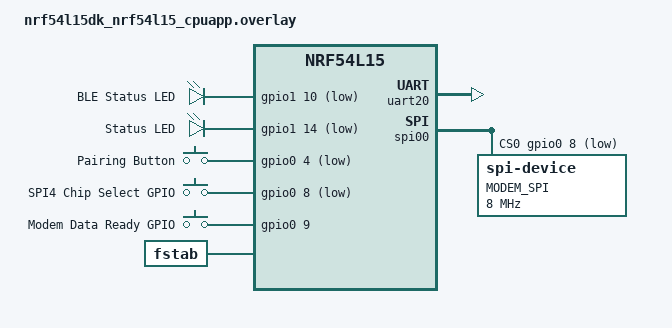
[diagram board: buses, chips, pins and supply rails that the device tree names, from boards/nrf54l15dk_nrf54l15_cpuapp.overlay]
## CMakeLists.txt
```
# Copyright (c) 2024 Dog Tracker Project
# SPDX-License-Identifier: Apache-2.0

cmake_minimum_required(VERSION 3.20.0)

# 设置板子配置
set(BOARD nrf54l15dk/nrf54l15/cpuapp)

set(DTC_OVERLAY_FILE ./boards/nrf54l15dk_nrf54l15_cpuapp.overlay)

find_package(Zephyr REQUIRED HINTS $ENV{ZEPHYR_BASE})

project(dog_tracker)

# 添加源文件
target_sources(app PRIVATE
    src/main.c
    src/ble/src/ble.c
    src/ble/src/tracker_service.c
)

# 添加头文件目录
zephyr_library_include_directories(src/include)
zephyr_library_include_directories(src/ble/include)
zephyr_library_include_directories(src/comm_mgr/include)
zephyr_library_include_directories(src/ml/include)
zephyr_library_include_directories(src/storage/include)
zephyr_library_include_directories(src/wifi/include)
zephyr_library_include_directories(src/zbus/include)

# 可选：如果要使用c_modules，取消注释下面的行
 add_subdirectory(c_modules/utils)
 add_subdirectory(c_modules/fqueue)
 add_subdirectory(c_modules/json)        # 添加JSON模块
 add_subdirectory(c_modules/imu)         # 添加IMU模块  
 add_subdirectory(c_modules/modem)       # 添加调制解调器模块
 add_subdirectory(c_modules/pmic)       # 添加PMIC模块
 add_subdirectory(c_modules/uicr)       # 添加UICR模块
 add_subdirectory(c_modules/tde)        # 添加TDE模块
 add_subdirectory(c_modules/watchdog)   # 添加看门狗模块
# 添加src子模块
add_subdirectory(src/comm_mgr)          # 添加通信管理器模块
add_subdirectory(src/ml)                # 添加机器学习模块
add_subdirectory(src/storage)           # 添加存储模块
add_subdirectory(src/wifi)              # 添加WiFi模块
add_subdirectory(src/zbus)              # 添加ZBus模块

# 添加应用版本信息
target_compile_definitions(app PRIVATE
    APP_VERSION_MAJOR=1
    APP_VERSION_MINOR=0
    APP_VERSION_PATCH=0
)
```

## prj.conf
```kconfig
# Copyright (c) 2024 Dog Tracker Project
# SPDX-License-Identifier: Apache-2.0

# 基础配置
CONFIG_LOG=y
CONFIG_LOG_DEFAULT_LEVEL=3

# 日志配置 - 使用默认级别

# 蓝牙配置
CONFIG_BT=y
CONFIG_BT_CENTRAL=n
CONFIG_BT_PERIPHERAL=y

# GATT相关
CONFIG_BT_GATT_SERVICE_CHANGED=y
CONFIG_BT_GATT_CACHING=y
CONFIG_BT_GATT_ENFORCE_SUBSCRIPTION=n

# 安全性配置
CONFIG_BT_SMP=y
CONFIG_BT_SIGNING=y
CONFIG_BT_BONDABLE=y
CONFIG_BT_BONDING_REQUIRED=n

# L2CAP配置
CONFIG_BT_L2CAP_TX_BUF_COUNT=8

# 设备名称和ID
CONFIG_BT_DEVICE_NAME="Dog_Tracker"
CONFIG_BT_DEVICE_APPEARANCE=0

# 蓝牙控制器配置
CONFIG_BT_CTLR=y
CONFIG_BT_CTLR_ADV_EXT=y
CONFIG_BT_CTLR_TX_PWR_PLUS_8=y

# 广播配置
CONFIG_BT_EXT_ADV=y

# 内存配置
CONFIG_HEAP_MEM_POOL_SIZE=16384
CONFIG_MAIN_STACK_SIZE=2048
CONFIG_SYSTEM_WORKQUEUE_STACK_SIZE=2048

# 设置存储
CONFIG_SETTINGS=y
CONFIG_SETTINGS_RUNTIME=y  # 启用运行时Settings API
CONFIG_SETTINGS_NVS=y
CONFIG_NVS=y
CONFIG_FLASH=y
CONFIG_FLASH_MAP=y

# CBOR支持（用于数据编解码）
CONFIG_ZCBOR=y
CONFIG_ZCBOR_CANONICAL=y

# 随机数生成
CONFIG_ENTROPY_GENERATOR=y

# GPIO和定时器支持
CONFIG_GPIO=y
CONFIG_COUNTER=y

# Shell支持（调试用）
CONFIG_SHELL=y
CONFIG_SHELL_BACKEND_SERIAL=y

# UART配置
CONFIG_SERIAL=y
CONFIG_UART_INTERRUPT_DRIVEN=y
CONFIG_CONSOLE=y

# 看门狗
CONFIG_WATCHDOG=y

# ===== 新增配置以解决编译错误 =====

# JSON支持 (解决 cJSON_os.h 错误)
CONFIG_CJSON_LIB=y
# 需要启用浮点printf支持
CONFIG_NEWLIB_LIBC=y
CONFIG_NEWLIB_LIBC_FLOAT_PRINTF=y

# 文件系统支持 (解决 lfs.h 错误)
CONFIG_FILE_SYSTEM=y
CONFIG_FILE_SYSTEM_LITTLEFS=y

# 传感器支持 (解决 imu.h 相关问题)
CONFIG_SENSOR=y
CONFIG_I2C=y
CONFIG_SPI=y

# ZBUS消息总线支持 (项目使用的消息系统)
CONFIG_ZBUS=y
CONFIG_ZBUS_CHANNEL_NAME=y
CONFIG_ZBUS_OBSERVER_NAME=y
CONFIG_ZBUS_MSG_SUBSCRIBER=y

# 网络缓冲支持 (ZBUS和通信需要)
CONFIG_NET_BUF=y

# 线程名称支持 (便于调试)
CONFIG_THREAD_NAME=y

# ML相关支持
CONFIG_CPP=y
CONFIG_STD_CPP17=y

# 调制解调器支持
CONFIG_MODEM_MODULES=y

# WiFi支持
CONFIG_WIFI=y
CONFIG_NET_L2_WIFI_MGMT=y

# ===== 添加项目特定配置参数 =====

# 日志级别配置
#CONFIG_SPI_MODEM_LOG_LEVEL=3
#CONFIG_D1_JSON_LOG_LEVEL=3
#CONFIG_COMM_MGR_LOG_LEVEL=3
#CONFIG_ML_LOG_LEVEL=3
#CONFIG_IMU_LOG_LEVEL=3

# MQTT和IoT配置
#CONFIG_IOT_MQTT_REGION_ID="US"
#CONFIG_IOT_MQTT_BRAND_ID=123
#CONFIG_MAX_MQTT_MSG_SIZE=4096

# 调制解调器配置  
#CONFIG_NRF9160_ENABLE_ON_BOOT=n

# SPI配置（针对nRF54L15芯片）
CONFIG_SPI=y
CONFIG_SPI_NRFX=y

# 应用版本配置
#CONFIG_APP_VERSION_MAJOR_CMAKE=1
#CONFIG_APP_VERSION_MINOR_CMAKE=0  
#CONFIG_APP_VERSION_PATCH_CMAKE=0

# 机器学习配置
#CONFIG_ML_ENABLE=y

# 构建配置
#CONFIG_BUILDING_MFG_SHELL=n
CONFIG_NETWORKING=y
```

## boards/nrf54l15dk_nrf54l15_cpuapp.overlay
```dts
/*
 * Copyright (c) 2024 Dog Tracker Project
 * SPDX-License-Identifier: Apache-2.0
 */

/ {
    /* 为BLE广播配置LED指示器 */
    leds {
        compatible = "gpio-leds";
        
        ble_led: led_ble {
            gpios = <&gpio1 10 GPIO_ACTIVE_LOW>;
            label = "BLE Status LED";
        };
        
        status_led: led_status {
            gpios = <&gpio1 14 GPIO_ACTIVE_LOW>;
            label = "Status LED";
        };
    };

    /* 按钮配置 */
    buttons {
        compatible = "gpio-keys";
        
        pairing_button: button_pairing {
            gpios = <&gpio0 4 (GPIO_PULL_UP | GPIO_ACTIVE_LOW)>;
            label = "Pairing Button";
        };
    };

    /* GPIO 别名配置 - 用于应用程序引用 */
    gpio_mapping {
        compatible = "gpio-keys"; /* 使用gpio-keys提供结构 */
        
        /* SPI片选信号 */
        spi4cs_gpio: spi4_cs_gpio {
            gpios = <&gpio0 8 GPIO_ACTIVE_LOW>;
            label = "SPI4 Chip Select GPIO";
        };
        
        /* 调制解调器数据就绪信号 */
        modem_data_ready_gpio: modem_data_ready_gpio {
            gpios = <&gpio0 9 (GPIO_PULL_DOWN | GPIO_ACTIVE_HIGH)>;
            label = "Modem Data Ready GPIO";
        };
    };

    /* 电源管理相关别名 */
    aliases {
        ble-led = &ble_led;
        status-led = &status_led;
        pairing-button = &pairing_button;
        /* 添加GPIO相关别名 */
        spi4cs = &spi4cs_gpio;
        modemdataready = &modem_data_ready_gpio;
    };

    chosen {
        zephyr,console = &uart20;
        zephyr,shell-uart = &uart20;
    };
};

/* 配置UART20用于调试 */
&uart20 {
    status = "okay";
};

/* 启用并配置SPI接口 - 根据nRF54L15的标准配置 */
&spi00 {
    status = "okay";
    /* 使用标准pinctrl配置 */
    pinctrl-0 = <&spi00_default>;
    pinctrl-1 = <&spi00_sleep>;
    pinctrl-names = "default", "sleep";
    /* 配置片选GPIO */
    cs-gpios = <&gpio0 8 GPIO_ACTIVE_LOW>;
    
    /* SPI从设备配置 - 移除不兼容的属性 */
    modem_spi: spi_device@0 {
        compatible = "zephyr,spi-device";  /* 使用标准SPI设备兼容性 */
        reg = <0>;
        spi-max-frequency = <8000000>; /* 8MHz */
        label = "MODEM_SPI";
    };
};

/* 启用GPIO控制器 */
&gpio0 {
    status = "okay";
};

&gpio1 {
    status = "okay";
};

&gpio2 {
    status = "okay";
};

/* 使用已经存在的storage_partition进行NVS配置 */
/ {
    fstab {
        compatible = "zephyr,fstab";
        nvs: nvs {
            compatible = "zephyr,fstab,nvs";
            mount-point = "/nvs";
            partition = <&storage_partition>;
            sector-size = <4096>;
            sector-count = <8>;
        };
    };
};
```

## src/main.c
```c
/* src/main.c */
/*
 * Copyright (c) 2024 Dog Tracker Project
 * SPDX-License-Identifier: Apache-2.0
 */

#include <zephyr/kernel.h>
#include <zephyr/logging/log.h>
#include <zephyr/device.h>
#include <zephyr/drivers/gpio.h>
#include <zephyr/sys/reboot.h>

#include "ble.h"
#include "tracker_service.h"
#include "app_version.h"

LOG_MODULE_REGISTER(main, CONFIG_LOG_DEFAULT_LEVEL);

/* LED设备节点 */
#define LED_BLE_NODE DT_ALIAS(ble_led)
#define LED_STATUS_NODE DT_ALIAS(status_led)

/* 按钮设备节点 */
#define BUTTON_PAIRING_NODE DT_ALIAS(pairing_button)

static const struct gpio_dt_spec led_ble = GPIO_DT_SPEC_GET(LED_BLE_NODE, gpios);
static const struct gpio_dt_spec led_status = GPIO_DT_SPEC_GET(LED_STATUS_NODE, gpios);
static const struct gpio_dt_spec button_pairing = GPIO_DT_SPEC_GET(BUTTON_PAIRING_NODE, gpios);

/* LED状态枚举 */
typedef enum {
    LED_STATE_OFF,
    LED_STATE_ON,
    LED_STATE_BLINK_SLOW,
    LED_STATE_BLINK_FAST
} led_state_t;

static led_state_t ble_led_state = LED_STATE_OFF;
static led_state_t status_led_state = LED_STATE_OFF;

/* LED控制定时器 */
static void led_timer_handler(struct k_timer *dummy);
K_TIMER_DEFINE(led_timer, led_timer_handler, NULL);

/* 按钮中断处理 */
static struct gpio_callback button_cb_data;
static void button_pressed(const struct device *dev, struct gpio_callback *cb, uint32_t pins);

/* LED控制函数 */
static void set_led_state(const struct gpio_dt_spec *led, led_state_t state)
{
    if (led == &led_ble) {
        ble_led_state = state;
    } else if (led == &led_status) {
        status_led_state = state;
    }
    
    switch (state) {
        case LED_STATE_OFF:
            gpio_pin_set_dt(led, 0);
            break;
        case LED_STATE_ON:
            gpio_pin_set_dt(led, 1);
            break;
        case LED_STATE_BLINK_SLOW:
        case LED_STATE_BLINK_FAST:
            /* 定时器处理闪烁 */
            break;
    }
}

/* LED定时器处理函数 */
static void led_timer_handler(struct k_timer *dummy)
{
    static bool toggle = false;
    
    toggle = !toggle;
    
    /* BLE LED闪烁处理 */
    if (ble_led_state == LED_STATE_BLINK_SLOW || ble_led_state == LED_STATE_BLINK_FAST) {
        gpio_pin_set_dt(&led_ble, toggle);
    }
    
    /* 状态LED闪烁处理 */
    if (status_led_state == LED_STATE_BLINK_SLOW || status_led_state == LED_STATE_BLINK_FAST) {
        gpio_pin_set_dt(&led_status, toggle);
    }
}

/* 按钮中断处理函数 */
static void button_pressed(const struct device *dev, struct gpio_callback *cb, uint32_t pins)
{
    LOG_INF("Pairing button pressed");
    
    /* 开始BLE广播，持续10分钟 */
    int ret = ble_advertise_start(600);
    if (ret == 0) {
        set_led_state(&led_ble, LED_STATE_BLINK_SLOW);
        LOG_INF("BLE advertising started for 10 minutes");
    } else {
        LOG_ERR("Failed to start BLE advertising: %d", ret);
        set_led_state(&led_status, LED_STATE_BLINK_FAST);
    }
}

/* 系统初始化 */
static int system_init(void)
{
    int ret;
    
    LOG_INF("Dog Tracker v%d.%d.%d initializing...", 
            APP_VERSION_MAJOR, APP_VERSION_MINOR, APP_VERSION_PATCH);
    

    
    /* 启动LED定时器 */
    k_timer_start(&led_timer, K_MSEC(500), K_MSEC(500));
    
    /* 初始化BLE */
    ret = ble_init();
    if (ret != 0) {
        LOG_ERR("BLE initialization failed: %d", ret);
        return ret;
    }
    
    /* 初始化Tracker服务 */
    ret = tracker_service_init();
    if (ret != 0) {
        LOG_ERR("Tracker service initialization failed: %d", ret);
        return ret;
    }

    
    LOG_INF("System initialization completed successfully");
    return 0;
}

/* 主线程 */
int main(void)
{
    int ret;
    
    ret = system_init();
    if (ret != 0) {
        LOG_ERR("System initialization failed: %d", ret);
    }
    
    LOG_INF("Dog Tracker running...");
    
    ble_advertise_start(10000);
    /* 主循环 */
    while (1) {
        /* 检查连接状态 */
        struct bt_conn *conn = ble_get_conn();
        if (conn != NULL) {
            /* 已连接，BLE LED常亮 */
            if (ble_led_state != LED_STATE_ON) {
                set_led_state(&led_ble, LED_STATE_ON);
            }
        } else {
            /* 未连接 */
            if (ble_led_state == LED_STATE_ON) {
                set_led_state(&led_ble, LED_STATE_OFF);
            }
        }
        
        /* 系统状态检查 */
        k_sleep(K_SECONDS(1));
    }
    
    return 0;
}
```

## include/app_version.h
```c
/* include/app_version.h */
#ifndef APP_VERSION_H
#define APP_VERSION_H

#ifndef APP_VERSION_MAJOR
#define APP_VERSION_MAJOR 1
#endif

#ifndef APP_VERSION_MINOR
#define APP_VERSION_MINOR 0
#endif

#ifndef APP_VERSION_PATCH
#define APP_VERSION_PATCH 0
#endif

#endif /* APP_VERSION_H */
```

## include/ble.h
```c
/* include/ble.h */
#ifndef BLE_H
#define BLE_H

#include <zephyr/bluetooth/bluetooth.h>
#include <zephyr/bluetooth/conn.h>

/**
 * @brief 初始化BLE模块
 * @return 0成功，负值失败
 */
int ble_init(void);

/**
 * @brief 开始BLE广播
 * @param timeout_sec 广播超时时间（秒），0表示不超时
 * @return 0成功，负值失败
 */
int ble_advertise_start(int timeout_sec);

/**
 * @brief 停止BLE广播
 * @return 0成功，负值失败
 */
int ble_stop(void);

/**
 * @brief 获取当前BLE连接
 * @return 连接对象指针，NULL表示无连接
 */
struct bt_conn *ble_get_conn(void);

/**
 * @brief 获取本地设备名称
 * @return 设备名称字符串
 */
char *ble_get_local_name(void);

/**
 * @brief 断开BLE连接
 * @return 0成功，负值失败
 */
int ble_disconnect(void);

/**
 * @brief 关闭BLE功能
 * @return 0成功，负值失败
 */
int ble_shutdown(void);

#endif /* BLE_H */
```

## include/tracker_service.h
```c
/* include/tracker_service.h */
#ifndef TRACKER_SERVICE_H
#define TRACKER_SERVICE_H

#include <zephyr/bluetooth/uuid.h>

/* Tracker Service UUID: 9d1589a6-cea6-4df1-96d9-1697cd4dc1e7 */
#define BT_UUID_TRACKER_SERVICE_VAL \
    BT_UUID_128_ENCODE(0x9d1589a6, 0xcea6, 0x4df1, 0x96d9, 0x1697cd4dc1e7)

/**
 * @brief 初始化Tracker BLE服务
 * @return 0成功，负值失败
 */
int tracker_service_init(void);

/**
 * @brief 检查设备是否已配对
 * @return true已配对，false未配对
 */
bool tracker_service_is_onboarded(void);

/**
 * @brief 发送FOTA状态通知
 * @param fota_state FOTA状态字符串
 * @return 0成功，负值失败
 */
int fota_notify(char *fota_state);

#endif /* TRACKER_SERVICE_H */
```

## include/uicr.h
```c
/* include/uicr.h */
#ifndef UICR_H
#define UICR_H

#include <stdint.h>
#include <stdbool.h>

#define UICR_STR_MAX_LEN 13  // 12字符 + null终止符

/**
 * @brief 获取设备序列号
 * @return 序列号字符串指针
 */
char *uicr_serial_number_get(void);

/**
 * @brief 获取出厂标志位
 * @return true表示已出厂，false表示开发模式
 */
bool uicr_shipping_flag_get(void);

/**
 * @brief 获取WiFi MAC地址（简化版）
 * @return MAC地址字符串
 */
char *uicr_wifi_mac_address_get(void);

#endif /* UICR_H */
```
